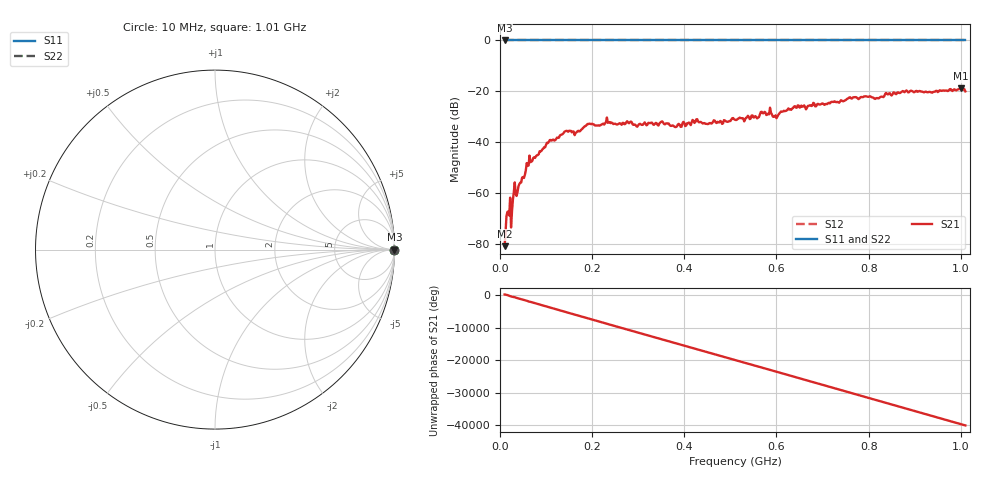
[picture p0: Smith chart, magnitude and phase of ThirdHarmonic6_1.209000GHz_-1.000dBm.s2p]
! 8/16/2025 12:35:23 PM
! C:\ANRITSUVNA\TEMP\TEMP.S2P
! CHANNEL.1
! TR.MEASUREMENT
! RAW.DATA
! RF.CORRECTION.OFF
! AVERAGING.OFF
! IF.BANDWIDTH: 5KHZ
! SWEEPTYPE:  FREQ.SWEEP(Linear)
! Reference Plane Port Info
! PORT:  PORT1  PORT2
! DISTANCE:  0  m  0  m
! TIME:  0  s  0  s
! PHASE.OFFSET:  0  deg.  0  deg.
! LOSS:  0  dB  0  dB
! REF.LOSS:  0  dB  0  dB
! REF.FREQ:  0  Hz  0  Hz
! Power Info
! POWER:  -20  dBm  -20  dBm
! EFF.POWER:  -20  dBm  -20  dBm
! SOURCE.ATTEN:  0  dB  0  dB
! TEST.ATTEN:  0  dB  0  dB
# GHZ S RI R 50.0
! FREQ.GHZ  S11RE  S11IM  S21RE  S21IM  S12RE  S12IM  S22RE  S22IM
!; PortSelection: Port_12
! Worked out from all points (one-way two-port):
!   501 points, 10 MHz to 1.01 GHz, reference 50 ohm
!   highest |S21| = -18.74 dB at 1 GHz (marker M1); lowest = -80.7 dB at 10 MHz (marker M2)
!   lowest |S11| = 0.0 dB at 10 MHz (marker M3)
!   |S11| at or under -10 dB: nowhere
!   |S22| runs from 0.0 to 0.0 dB; largest |S21 - S12| = 1.1
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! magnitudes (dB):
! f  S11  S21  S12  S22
! 10 MHz  0.0  -80.7  0.0  0.0
! 18 MHz  0.0  -67.1  0.0  0.0
! 22 MHz  0.0  -61.7  0.0  0.0
! 32 MHz  0.0  -55.7  0.0  0.0
! 38 MHz  0.0  -59.5  0.0  0.0
! 62 MHz  0.0  -49.1  0.0  0.0
! 106 MHz  0.0  -39.8  0.0  0.0
! 142 MHz  0.0  -35.6  0.0  0.0
! 178 MHz  0.0  -34.8  0.0  0.0
! 234 MHz  0.0  -32.3  0.0  0.0
! 344 MHz  0.0  -33.4  0.0  0.0
! 380 MHz  0.0  -34.0  0.0  0.0
! 424 MHz  0.0  -32.0  0.0  0.0
! 510 MHz  0.0  -31.1  0.0  0.0
! 558 MHz  0.0  -30.6  0.0  0.0
! 570 MHz  0.0  -28.5  0.0  0.0
! 598 MHz  0.0  -29.4  0.0  0.0
! 642 MHz  0.0  -26.3  0.0  0.0
! 678 MHz  0.0  -25.5  0.0  0.0
! 844 MHz  0.0  -20.8  0.0  0.0
! 1 GHz  0.0  -18.7  0.0  0.0
! 1.01 GHz  0.0  -20.0  0.0  0.0
